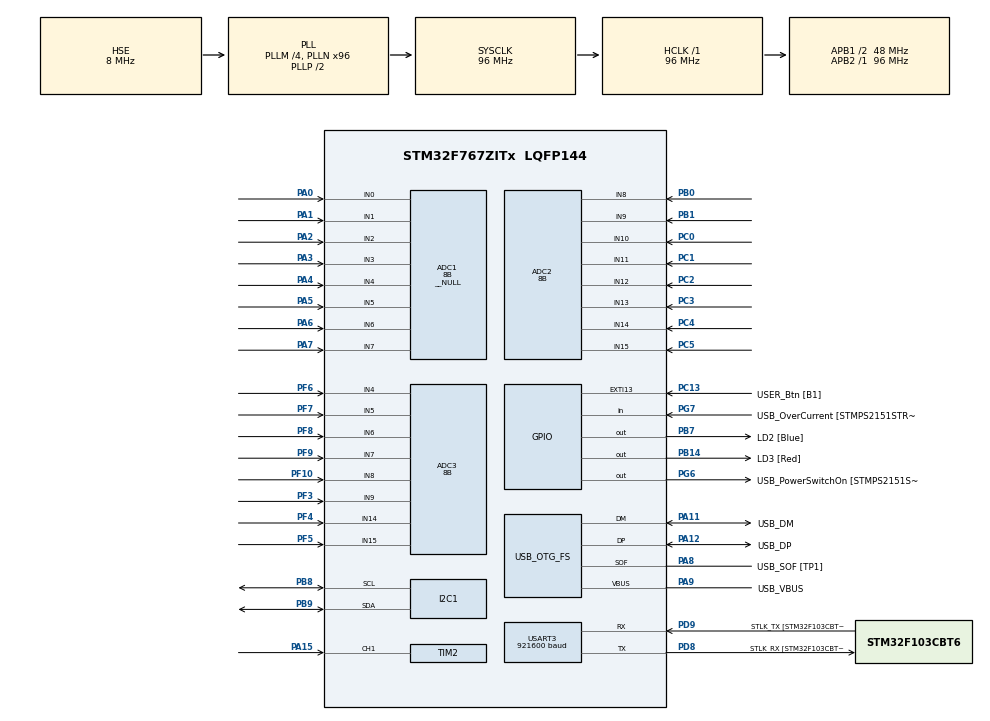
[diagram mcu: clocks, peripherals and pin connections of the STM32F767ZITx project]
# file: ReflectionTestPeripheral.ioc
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ADC1.Channel-0\#ChannelRegularConversion=ADC_CHANNEL_0
ADC1.Channel-1\#ChannelRegularConversion=ADC_CHANNEL_1
ADC1.Channel-2\#ChannelRegularConversion=ADC_CHANNEL_2
ADC1.Channel-3\#ChannelRegularConversion=ADC_CHANNEL_3
ADC1.Channel-4\#ChannelRegularConversion=ADC_CHANNEL_4
ADC1.Channel-5\#ChannelRegularConversion=ADC_CHANNEL_5
ADC1.Channel-6\#ChannelRegularConversion=ADC_CHANNEL_6
ADC1.Channel-7\#ChannelRegularConversion=ADC_CHANNEL_7
ADC1.ContinuousConvMode=ENABLE
ADC1.DMAContinuousRequests=ENABLE
ADC1.EOCSelection=ADC_EOC_SEQ_CONV
ADC1.Mode=__NULL
ADC1.NbrOfConversion=8
ADC1.NbrOfConversionFlag=1
ADC1.Rank-0\#ChannelRegularConversion=1
ADC1.Rank-1\#ChannelRegularConversion=2
ADC1.Rank-2\#ChannelRegularConversion=3
ADC1.Rank-3\#ChannelRegularConversion=4
ADC1.Rank-4\#ChannelRegularConversion=5
ADC1.Rank-5\#ChannelRegularConversion=6
ADC1.Rank-6\#ChannelRegularConversion=7
ADC1.Rank-7\#ChannelRegularConversion=8
ADC1.Resolution=ADC_RESOLUTION_8B
ADC1.SamplingTime-0\#ChannelRegularConversion=ADC_SAMPLETIME_3CYCLES
ADC1.SamplingTime-1\#ChannelRegularConversion=ADC_SAMPLETIME_3CYCLES
ADC1.SamplingTime-2\#ChannelRegularConversion=ADC_SAMPLETIME_3CYCLES
ADC1.SamplingTime-3\#ChannelRegularConversion=ADC_SAMPLETIME_3CYCLES
ADC1.SamplingTime-4\#ChannelRegularConversion=ADC_SAMPLETIME_3CYCLES
ADC1.SamplingTime-5\#ChannelRegularConversion=ADC_SAMPLETIME_3CYCLES
ADC1.SamplingTime-6\#ChannelRegularConversion=ADC_SAMPLETIME_3CYCLES
ADC1.SamplingTime-7\#ChannelRegularConversion=ADC_SAMPLETIME_3CYCLES
ADC1.ScanConvMode=ADC_SCAN_ENABLE
ADC1.master=1
ADC2.Channel-10\#ChannelRegularConversion=ADC_CHANNEL_10
ADC2.Channel-11\#ChannelRegularConversion=ADC_CHANNEL_11
ADC2.Channel-12\#ChannelRegularConversion=ADC_CHANNEL_12
ADC2.Channel-13\#ChannelRegularConversion=ADC_CHANNEL_13
ADC2.Channel-14\#ChannelRegularConversion=ADC_CHANNEL_14
ADC2.Channel-15\#ChannelRegularConversion=ADC_CHANNEL_15
ADC2.Channel-8\#ChannelRegularConversion=ADC_CHANNEL_8
ADC2.Channel-9\#ChannelRegularConversion=ADC_CHANNEL_9
ADC2.ContinuousConvMode=ENABLE
ADC2.DMAContinuousRequests=ENABLE
ADC2.EOCSelection=ADC_EOC_SEQ_CONV
ADC2.NbrOfConversion=8
ADC2.NbrOfConversionFlag=1
ADC2.Rank-10\#ChannelRegularConversion=3
ADC2.Rank-11\#ChannelRegularConversion=4
ADC2.Rank-12\#ChannelRegularConversion=5
ADC2.Rank-13\#ChannelRegularConversion=6
ADC2.Rank-14\#ChannelRegularConversion=7
ADC2.Rank-15\#ChannelRegularConversion=8
ADC2.Rank-8\#ChannelRegularConversion=1
ADC2.Rank-9\#ChannelRegularConversion=2
ADC2.Resolution=ADC_RESOLUTION_8B
ADC2.SamplingTime-10\#ChannelRegularConversion=ADC_SAMPLETIME_3CYCLES
ADC2.SamplingTime-11\#ChannelRegularConversion=ADC_SAMPLETIME_3CYCLES
ADC2.SamplingTime-12\#ChannelRegularConversion=ADC_SAMPLETIME_3CYCLES
ADC2.SamplingTime-13\#ChannelRegularConversion=ADC_SAMPLETIME_3CYCLES
ADC2.SamplingTime-14\#ChannelRegularConversion=ADC_SAMPLETIME_3CYCLES
ADC2.SamplingTime-15\#ChannelRegularConversion=ADC_SAMPLETIME_3CYCLES
ADC2.SamplingTime-8\#ChannelRegularConversion=ADC_SAMPLETIME_3CYCLES
ADC2.SamplingTime-9\#ChannelRegularConversion=ADC_SAMPLETIME_3CYCLES
ADC2.ScanConvMode=ADC_SCAN_ENABLE
ADC3.Channel-0\#ChannelRegularConversion=ADC_CHANNEL_4
ADC3.Channel-10\#ChannelRegularConversion=ADC_CHANNEL_14
ADC3.Channel-11\#ChannelRegularConversion=ADC_CHANNEL_15
ADC3.Channel-5\#ChannelRegularConversion=ADC_CHANNEL_5
ADC3.Channel-6\#ChannelRegularConversion=ADC_CHANNEL_6
ADC3.Channel-7\#ChannelRegularConversion=ADC_CHANNEL_7
ADC3.Channel-8\#ChannelRegularConversion=ADC_CHANNEL_8
ADC3.Channel-9\#ChannelRegularConversion=ADC_CHANNEL_9
ADC3.ContinuousConvMode=ENABLE
ADC3.DMAContinuousRequests=ENABLE
ADC3.EOCSelection=ADC_EOC_SEQ_CONV
ADC3.InjNumberOfConversion=0
ADC3.NbrOfConversion=8
ADC3.NbrOfConversionFlag=1
ADC3.Rank-0\#ChannelRegularConversion=1
ADC3.Rank-10\#ChannelRegularConversion=7
ADC3.Rank-11\#ChannelRegularConversion=8
ADC3.Rank-5\#ChannelRegularConversion=2
ADC3.Rank-6\#ChannelRegularConversion=3
ADC3.Rank-7\#ChannelRegularConversion=4
ADC3.Rank-8\#ChannelRegularConversion=5
ADC3.Rank-9\#ChannelRegularConversion=6
ADC3.Resolution=ADC_RESOLUTION_8B
ADC3.SamplingTime-0\#ChannelRegularConversion=ADC_SAMPLETIME_3CYCLES
ADC3.SamplingTime-10\#ChannelRegularConversion=ADC_SAMPLETIME_3CYCLES
ADC3.SamplingTime-11\#ChannelRegularConversion=ADC_SAMPLETIME_3CYCLES
ADC3.SamplingTime-5\#ChannelRegularConversion=ADC_SAMPLETIME_3CYCLES
ADC3.SamplingTime-6\#ChannelRegularConversion=ADC_SAMPLETIME_3CYCLES
ADC3.SamplingTime-7\#ChannelRegularConversion=ADC_SAMPLETIME_3CYCLES
ADC3.SamplingTime-8\#ChannelRegularConversion=ADC_SAMPLETIME_3CYCLES
ADC3.SamplingTime-9\#ChannelRegularConversion=ADC_SAMPLETIME_3CYCLES
ADC3.TwoSamplingDelay=ADC_TWOSAMPLINGDELAY_15CYCLES
Dma.ADC1.0.Direction=DMA_PERIPH_TO_MEMORY
Dma.ADC1.0.FIFOMode=DMA_FIFOMODE_DISABLE
Dma.ADC1.0.Instance=DMA2_Stream0
Dma.ADC1.0.MemDataAlignment=DMA_MDATAALIGN_HALFWORD
Dma.ADC1.0.MemInc=DMA_MINC_ENABLE
Dma.ADC1.0.Mode=DMA_CIRCULAR
Dma.ADC1.0.PeriphDataAlignment=DMA_PDATAALIGN_HALFWORD
Dma.ADC1.0.PeriphInc=DMA_PINC_DISABLE
Dma.ADC1.0.Priority=DMA_PRIORITY_LOW
Dma.ADC2.2.Direction=DMA_PERIPH_TO_MEMORY
Dma.ADC2.2.FIFOMode=DMA_FIFOMODE_DISABLE
Dma.ADC2.2.Instance=DMA2_Stream2
Dma.ADC2.2.MemDataAlignment=DMA_MDATAALIGN_HALFWORD
Dma.ADC2.2.MemInc=DMA_MINC_ENABLE
Dma.ADC2.2.Mode=DMA_CIRCULAR
Dma.ADC2.2.PeriphDataAlignment=DMA_PDATAALIGN_HALFWORD
Dma.ADC2.2.PeriphInc=DMA_PINC_DISABLE
Dma.ADC2.2.Priority=DMA_PRIORITY_LOW
Dma.ADC3.1.Direction=DMA_PERIPH_TO_MEMORY
Dma.ADC3.1.FIFOMode=DMA_FIFOMODE_DISABLE
Dma.ADC3.1.Instance=DMA2_Stream1
Dma.ADC3.1.MemDataAlignment=DMA_MDATAALIGN_HALFWORD
Dma.ADC3.1.MemInc=DMA_MINC_ENABLE
Dma.ADC3.1.Mode=DMA_CIRCULAR
Dma.ADC3.1.PeriphDataAlignment=DMA_PDATAALIGN_HALFWORD
Dma.ADC3.1.PeriphInc=DMA_PINC_DISABLE
Dma.ADC3.1.Priority=DMA_PRIORITY_LOW
Dma.Request0=ADC1
Dma.Request1=ADC3
Dma.Request2=ADC2
I2C1.OwnAddress=1
I2C1.Timing=0x20303E5D
Mcu.Family=STM32F7
Mcu.Name=STM32F767ZITx
Mcu.Package=LQFP144
NVIC.DMA2_Stream0_IRQn=true\:0\:0\:false\:false\:true\:false\:true\:true
NVIC.DMA2_Stream1_IRQn=true\:0\:0\:false\:false\:true\:false\:true\:true
NVIC.DMA2_Stream2_IRQn=true\:0\:0\:false\:false\:true\:false\:true\:true
NVIC.I2C1_ER_IRQn=true\:0\:0\:false\:false\:true\:true\:true\:true
NVIC.I2C1_EV_IRQn=true\:0\:0\:false\:false\:true\:true\:true\:true
NVIC.PriorityGroup=NVIC_PRIORITYGROUP_4
PA0/WKUP.Signal=ADCx_IN0
PA1.Signal=ADCx_IN1
PA10.GPIO_Label=USB_ID
PA10.Signal=USB_OTG_FS_ID
PA11.GPIO_Label=USB_DM
PA11.Mode=Device_Only
PA11.Signal=USB_OTG_FS_DM
PA12.GPIO_Label=USB_DP
PA12.Mode=Device_Only
PA12.Signal=USB_OTG_FS_DP
PA13.GPIO_Label=TMS
PA13.Mode=Serial_Wire
PA13.Signal=SYS_JTMS-SWDIO
PA14.GPIO_Label=TCK
PA14.Mode=Serial_Wire
PA14.Signal=SYS_JTCK-SWCLK
PA15.Signal=S_TIM2_CH1_ETR
PA2.Signal=ADCx_IN2
PA3.Signal=ADCx_IN3
PA4.Signal=ADCx_IN4
PA5.Signal=ADCx_IN5
PA6.Signal=ADCx_IN6
PA7.Signal=ADCx_IN7
PA8.GPIO_Label=USB_SOF [TP1]
PA8.Mode=Activate_SOF_FS
PA8.Signal=USB_OTG_FS_SOF
PA9.GPIO_Label=USB_VBUS
PA9.Mode=Activate_VBUS
PA9.Signal=USB_OTG_FS_VBUS
PB0.Signal=ADCx_IN8
PB1.Signal=ADCx_IN9
PB13.GPIO_Label=RMII_TXD1 [LAN8742A-CZ-TR_TXD1]
PB13.Signal=ETH_TXD1
PB14.GPIO_Label=LD3 [Red]
PB14.Signal=GPIO_Output
PB3.GPIO_Label=SWO
PB3.Signal=SYS_JTDO-SWO
PB7.GPIO_Label=LD2 [Blue]
PB7.Signal=GPIO_Output
PB8.Mode=I2C
PB8.Signal=I2C1_SCL
PB9.Mode=I2C
PB9.Signal=I2C1_SDA
PC0.Signal=ADCx_IN10
PC1.Signal=ADCx_IN11
PC13.GPIO_Label=USER_Btn [B1]
PC13.Signal=GPXTI13
PC14/OSC32_IN.Mode=LSE-External-Oscillator
PC14/OSC32_IN.Signal=RCC_OSC32_IN
PC15/OSC32_OUT.Mode=LSE-External-Oscillator
PC15/OSC32_OUT.Signal=RCC_OSC32_OUT
PC2.Signal=ADCx_IN12
PC3.Signal=ADCx_IN13
PC4.Signal=ADCx_IN14
PC5.Signal=ADCx_IN15
PD8.GPIO_Label=STLK_RX [STM32F103CBT6_PA3]
PD8.Mode=Asynchronous
PD8.Signal=USART3_TX
PD9.GPIO_Label=STLK_TX [STM32F103CBT6_PA2]
PD9.Mode=Asynchronous
PD9.Signal=USART3_RX
PF10.Mode=IN8
PF10.Signal=ADC3_IN8
PF3.Mode=IN9
PF3.Signal=ADC3_IN9
PF4.Mode=IN14
PF4.Signal=ADC3_IN14
PF5.Mode=IN15
PF5.Signal=ADC3_IN15
PF6.Mode=IN4
PF6.Signal=ADC3_IN4
PF7.Mode=IN5
PF7.Signal=ADC3_IN5
PF8.Mode=IN6
PF8.Signal=ADC3_IN6
PF9.Mode=IN7
PF9.Signal=ADC3_IN7
PG11.GPIO_Label=RMII_TX_EN [LAN8742A-CZ-TR_TXEN]
PG11.Signal=ETH_TX_EN
PG13.GPIO_Label=RMII_TXD0 [LAN8742A-CZ-TR_TXD0]
PG13.Signal=ETH_TXD0
PG6.GPIO_Label=USB_PowerSwitchOn [STMPS2151STR_EN]
PG6.Signal=GPIO_Output
PG7.GPIO_Label=USB_OverCurrent [STMPS2151STR_FAULT]
PG7.Signal=GPIO_Input
PH0/OSC_IN.GPIO_Label=MCO [STM32F103CBT6_PA8]
PH0/OSC_IN.Mode=HSE-External-Clock-Source
PH0/OSC_IN.Signal=RCC_OSC_IN
PH1/OSC_OUT.Mode=HSE-External-Clock-Source
PH1/OSC_OUT.Signal=RCC_OSC_OUT
ProjectManager.HeapSize=0x80000
ProjectManager.StackSize=0x400
ProjectManager.TargetToolchain=STM32CubeIDE
RCC.48MHZClocksFreq_Value=24000000
RCC.AHBFreq_Value=96000000
RCC.APB1CLKDivider=RCC_HCLK_DIV2
RCC.APB1Freq_Value=48000000
RCC.APB1TimFreq_Value=96000000
RCC.APB2Freq_Value=96000000
RCC.APB2TimFreq_Value=96000000
RCC.CortexFreq_Value=96000000
RCC.HCLKFreq_Value=96000000
RCC.HSE_VALUE=8000000
RCC.HSI_VALUE=16000000
RCC.PLLM=4
RCC.PLLMUL=RCC_PLL_MUL9
RCC.PLLN=96
RCC.PLLQ=4
RCC.PRESCALERUSB=RCC_USBCLKSOURCE_PLL_DIV1_5
RCC.SYSCLKFreq_VALUE=96000000
RCC.SYSCLKSource=RCC_SYSCLKSOURCE_PLLCLK
RCC.SYSCLKSourceVirtual=RCC_SYSCLKSOURCE_PLLCLK
RCC.USBFreq_Value=48000000
RCC.VCOOutputFreq_Value=192000000
SH.ADCx_IN0.0=ADC1_IN0,IN0
SH.ADCx_IN1.0=ADC1_IN1,IN1
SH.ADCx_IN10.0=ADC2_IN10,IN10
SH.ADCx_IN11.0=ADC1_IN11
SH.ADCx_IN11.1=ADC2_IN11,IN11
SH.ADCx_IN12.0=ADC2_IN12,IN12
SH.ADCx_IN13.0=ADC2_IN13,IN13
SH.ADCx_IN14.0=ADC1_IN14
SH.ADCx_IN14.1=ADC2_IN14,IN14
SH.ADCx_IN15.0=ADC1_IN15
SH.ADCx_IN15.1=ADC2_IN15,IN15
SH.ADCx_IN2.0=ADC1_IN2,IN2
SH.ADCx_IN3.0=ADC1_IN3,IN3
SH.ADCx_IN4.0=ADC1_IN4,IN4
SH.ADCx_IN5.0=ADC1_IN5,IN5
SH.ADCx_IN6.0=ADC1_IN6,IN6
SH.ADCx_IN7.0=ADC1_IN7,IN7
SH.ADCx_IN8.0=ADC1_IN8
SH.ADCx_IN8.1=ADC2_IN8,IN8
SH.ADCx_IN9.0=ADC2_IN9,IN9
SH.S_TIM2_CH1_ETR.0=TIM2_CH1,Input_Capture1_from_TI1
TIM2.Channel-Input_Capture1_from_TI1=TIM_CHANNEL_1
TIM2.Prescaler=95
USART3.BaudRate=921600
USART3.VirtualMode-Asynchronous=VM_ASYNC
USB_OTG_FS.VirtualMode=Device_Only
VP_TIM2_VS_ClockSourceINT.Mode=Internal
board=NUCLEO-F767ZI

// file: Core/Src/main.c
/* USER CODE BEGIN Header */
/**
  ******************************************************************************
  * @file           : main.c
  * @brief          : Main program body
  ******************************************************************************
  * @attention
  *
  * Copyright (c) 2024 STMicroelectronics.
  * All rights reserved.
  *
  * This software is licensed under terms that can be found in the LICENSE file
  * in the root directory of this software component.
  * If no LICENSE file comes with this software, it is provided AS-IS.
  *
  ******************************************************************************
  */
/* USER CODE END Header */
#include "main.h"

ADC_HandleTypeDef hadc1;
ADC_HandleTypeDef hadc2;
ADC_HandleTypeDef hadc3;
DMA_HandleTypeDef hdma_adc1;
DMA_HandleTypeDef hdma_adc2;
DMA_HandleTypeDef hdma_adc3;

I2C_HandleTypeDef hi2c1;

TIM_HandleTypeDef htim2;

UART_HandleTypeDef huart3;

PCD_HandleTypeDef hpcd_USB_OTG_FS;

void SystemClock_Config(void);
static void MX_GPIO_Init(void);
static void MX_DMA_Init(void);
static void MX_USART3_UART_Init(void);
static void MX_USB_OTG_FS_PCD_Init(void);
static void MX_I2C1_Init(void);
static void MX_ADC1_Init(void);
static void MX_TIM2_Init(void);
static void MX_ADC3_Init(void);
static void MX_ADC2_Init(void);
/* USER CODE BEGIN PFP */
void ADC_DMAConvCplt_M1(DMA_HandleTypeDef *hdma);

void PrintUARTMessage(UART_HandleTypeDef *huart, const char message[]);

void PrintUARTValue(UART_HandleTypeDef *huart, uint16_t value);

void BlinkLight(GPIO_TypeDef* GPIOx, uint16_t GPIO_Pin, int blinkCount, int totalTimeMS, GPIO_PinState endState);

char* uint16ToString(uint16_t value, char* buffer, int bufferSize);

void CheckIfAllBuffersReadyAndSend();
/* USER CODE END PFP */

/* USER CODE BEGIN 0 */

	uint16_t adcBuffer_1[8 * 8];
	uint16_t adcBuffer_2[8 * 8];
	uint16_t adcBuffer_3[8 * 8];

	int adc1Finished = 0;
	int adc2Finished = 0;
	int adc3Finished = 0;
/*
	uint16_t** transmitBuffers_ADC1; //Filled with data from adc1_buf as it completes, and remains until cleared.
    uint32_t** transmitBuffers_ADC2;
    uint32_t** transmitBuffers_ADC3;
    */
/* USER CODE END 0 */

int main(void)
{

  /* MCU Configuration--------------------------------------------------------*/

  /* Reset of all peripherals, Initializes the Flash interface and the Systick. */
  HAL_Init();

  /* Configure the system clock */
  SystemClock_Config();

  /* Initialize all configured peripherals */
  MX_GPIO_Init();
  MX_DMA_Init();
  MX_USART3_UART_Init();
  MX_USB_OTG_FS_PCD_Init();
  MX_I2C1_Init();
  MX_ADC1_Init();
  MX_TIM2_Init();
  MX_ADC3_Init();
  MX_ADC2_Init();
  /* USER CODE BEGIN 2 */

  //Set up double buffer mode and M1 callback on DMA handles.
    //hadc1.DMA_Handle->Instance->CR |= DMA_SxCR_DBM_Msk;
    //hadc1.DMA_Handle->XferM1CpltCallback = ADC_DMAConvCplt_M1;

    //hadc2.DMA_Handle->Instance->CR |= DMA_SxCR_DBM_Msk;
    //hadc2.DMA_Handle->XferM1CpltCallback = ADC_DMAConvCplt_M1;

    //hadc3.DMA_Handle->Instance->CR |= DMA_SxCR_DBM_Msk;
    //hadc3.DMA_Handle->XferM1CpltCallback = ADC_DMAConvCplt_M1;

    //HAL_DMA_RegisterCallback(&hdma_adc1, HAL_DMA_XFER_CPLT_CB_ID, &ADC_DMAConvCplt_M1);
    //HAL_DMA_RegisterCallback(&hdma_usart2_tx, HAL_DMA_XFER_CPLT_CB_ID, &ADC_DMAConvCplt_M1);

    int sampleCount = 0;

    const int SAMPLE_DELAY_MS = 100;

    //HAL_ADC_Start_DMA(&hadc1, (uint32_t*)adcBuffer_1, 8 * 8);
  /* USER CODE END 2 */

  /* Infinite loop */
  while (1)
  {
	  //sampleCount++;
	  //char sampleMsg[10];
	  //sprintf(sampleMsg, "%hu\r\n", sampleCount);
	  //PrintUARTMessage(&huart3, "Sample #: ");
	  //PrintUARTMessage(&huart3, sampleMsg);

	  adc1Finished = 0;
	  adc2Finished = 0;
	  adc3Finished = 0;

	  //hadc->DMA_Handle->Instance->M1AR = (uint32_t)transmitBuffers[1]; //Apply second buffer address. That and the first one will be updated on each pass.
	  HAL_ADC_Start_DMA(&hadc1, (uint32_t*)adcBuffer_1, 8 * 8);
	  HAL_ADC_Start_DMA(&hadc2, (uint32_t*)adcBuffer_2, 8 * 8);
	  HAL_ADC_Start_DMA(&hadc3, (uint32_t*)adcBuffer_3, 8 * 8);
	  /*
	  HAL_ADC_Start(&hadc1);
	  //HAL_ADC_PollForConversion(&hadc1, 1);

	  uint16_t testdata = HAL_ADC_GetValue(&hadc1);
	  //const int testdata = 123;

	  char msg[10];
	  //uint16ToString(testdata, msg, sizeof(str));
	  //HAL_UART_Transmit(&huart3, (uint8_t*)&adcValue, sizeof(uint8_t), HAL_MAX_DELAY);
	  //HAL_UART_Transmit(&huart3, (uint8_t*)&testdata, sizeof(uint8_t), HAL_MAX_DELAY);
	  sprintf(msg, "%hu\r\n", testdata);

	  PrintUARTMessage(&huart3, msg);
*/

	  HAL_Delay(SAMPLE_DELAY_MS);

  }
}

void SystemClock_Config(void)
{
  RCC_OscInitTypeDef RCC_OscInitStruct = {0};
  RCC_ClkInitTypeDef RCC_ClkInitStruct = {0};

  /** Configure LSE Drive Capability
  */
  HAL_PWR_EnableBkUpAccess();

  /** Configure the main internal regulator output voltage
  */
  __HAL_RCC_PWR_CLK_ENABLE();
  __HAL_PWR_VOLTAGESCALING_CONFIG(PWR_REGULATOR_VOLTAGE_SCALE3);

  /** Initializes the RCC Oscillators according to the specified parameters
  * in the RCC_OscInitTypeDef structure.
  */
  RCC_OscInitStruct.OscillatorType = RCC_OSCILLATORTYPE_HSE;
  RCC_OscInitStruct.HSEState = RCC_HSE_BYPASS;
  RCC_OscInitStruct.PLL.PLLState = RCC_PLL_ON;
  RCC_OscInitStruct.PLL.PLLSource = RCC_PLLSOURCE_HSE;
  RCC_OscInitStruct.PLL.PLLM = 4;
  RCC_OscInitStruct.PLL.PLLN = 96;
  RCC_OscInitStruct.PLL.PLLP = RCC_PLLP_DIV2;
  RCC_OscInitStruct.PLL.PLLQ = 4;
  RCC_OscInitStruct.PLL.PLLR = 2;
  if (HAL_RCC_OscConfig(&RCC_OscInitStruct) != HAL_OK)
  {
    Error_Handler();
  }

  /** Activate the Over-Drive mode
  */
  if (HAL_PWREx_EnableOverDrive() != HAL_OK)
  {
    Error_Handler();
  }

  /** Initializes the CPU, AHB and APB buses clocks
  */
  RCC_ClkInitStruct.ClockType = RCC_CLOCKTYPE_HCLK|RCC_CLOCKTYPE_SYSCLK
                              |RCC_CLOCKTYPE_PCLK1|RCC_CLOCKTYPE_PCLK2;
  RCC_ClkInitStruct.SYSCLKSource = RCC_SYSCLKSOURCE_PLLCLK;
  RCC_ClkInitStruct.AHBCLKDivider = RCC_SYSCLK_DIV1;
  RCC_ClkInitStruct.APB1CLKDivider = RCC_HCLK_DIV2;
  RCC_ClkInitStruct.APB2CLKDivider = RCC_HCLK_DIV1;

  if (HAL_RCC_ClockConfig(&RCC_ClkInitStruct, FLASH_LATENCY_3) != HAL_OK)
  {
    Error_Handler();
  }
}

static void MX_ADC1_Init(void)
{

  ADC_ChannelConfTypeDef sConfig = {0};

  /** Configure the global features of the ADC (Clock, Resolution, Data Alignment and number of conversion)
  */
  hadc1.Instance = ADC1;
  hadc1.Init.ClockPrescaler = ADC_CLOCK_SYNC_PCLK_DIV4;
  hadc1.Init.Resolution = ADC_RESOLUTION_8B;
  hadc1.Init.ScanConvMode = ADC_SCAN_ENABLE;
  hadc1.Init.ContinuousConvMode = ENABLE;
  hadc1.Init.DiscontinuousConvMode = DISABLE;
  hadc1.Init.ExternalTrigConvEdge = ADC_EXTERNALTRIGCONVEDGE_NONE;
  hadc1.Init.ExternalTrigConv = ADC_SOFTWARE_START;
  hadc1.Init.DataAlign = ADC_DATAALIGN_RIGHT;
  hadc1.Init.NbrOfConversion = 8;
  hadc1.Init.DMAContinuousRequests = ENABLE;
  hadc1.Init.EOCSelection = ADC_EOC_SEQ_CONV;
  if (HAL_ADC_Init(&hadc1) != HAL_OK)
  {
    Error_Handler();
  }

  /** Configure for the selected ADC regular channel its corresponding rank in the sequencer and its sample time.
  */
  sConfig.Channel = ADC_CHANNEL_0;
  sConfig.Rank = ADC_REGULAR_RANK_1;
  sConfig.SamplingTime = ADC_SAMPLETIME_3CYCLES;
  if (HAL_ADC_ConfigChannel(&hadc1, &sConfig) != HAL_OK)
  {
    Error_Handler();
  }

  /** Configure for the selected ADC regular channel its corresponding rank in the sequencer and its sample time.
  */
  sConfig.Channel = ADC_CHANNEL_1;
  sConfig.Rank = ADC_REGULAR_RANK_2;
  if (HAL_ADC_ConfigChannel(&hadc1, &sConfig) != HAL_OK)
  {
    Error_Handler();
  }

  /** Configure for the selected ADC regular channel its corresponding rank in the sequencer and its sample time.
  */
  sConfig.Channel = ADC_CHANNEL_2;
  sConfig.Rank = ADC_REGULAR_RANK_3;
  if (HAL_ADC_ConfigChannel(&hadc1, &sConfig) != HAL_OK)
  {
    Error_Handler();
  }

  /** Configure for the selected ADC regular channel its corresponding rank in the sequencer and its sample time.
  */
  sConfig.Channel = ADC_CHANNEL_3;
  sConfig.Rank = ADC_REGULAR_RANK_4;
  if (HAL_ADC_ConfigChannel(&hadc1, &sConfig) != HAL_OK)
  {
    Error_Handler();
  }

  /** Configure for the selected ADC regular channel its corresponding rank in the sequencer and its sample time.
  */
  sConfig.Channel = ADC_CHANNEL_4;
  sConfig.Rank = ADC_REGULAR_RANK_5;
  if (HAL_ADC_ConfigChannel(&hadc1, &sConfig) != HAL_OK)
  {
    Error_Handler();
  }

  /** Configure for the selected ADC regular channel its corresponding rank in the sequencer and its sample time.
  */
  sConfig.Channel = ADC_CHANNEL_5;
  sConfig.Rank = ADC_REGULAR_RANK_6;
  if (HAL_ADC_ConfigChannel(&hadc1, &sConfig) != HAL_OK)
  {
    Error_Handler();
  }

  /** Configure for the selected ADC regular channel its corresponding rank in the sequencer and its sample time.
  */
  sConfig.Channel = ADC_CHANNEL_6;
  sConfig.Rank = ADC_REGULAR_RANK_7;
  if (HAL_ADC_ConfigChannel(&hadc1, &sConfig) != HAL_OK)
  {
    Error_Handler();
  }

  /** Configure for the selected ADC regular channel its corresponding rank in the sequencer and its sample time.
  */
  sConfig.Channel = ADC_CHANNEL_7;
  sConfig.Rank = ADC_REGULAR_RANK_8;
  if (HAL_ADC_ConfigChannel(&hadc1, &sConfig) != HAL_OK)
  {
    Error_Handler();
  }

}

static void MX_ADC2_Init(void)
{

  ADC_ChannelConfTypeDef sConfig = {0};

  /** Configure the global features of the ADC (Clock, Resolution, Data Alignment and number of conversion)
  */
  hadc2.Instance = ADC2;
  hadc2.Init.ClockPrescaler = ADC_CLOCK_SYNC_PCLK_DIV4;
  hadc2.Init.Resolution = ADC_RESOLUTION_8B;
  hadc2.Init.ScanConvMode = ADC_SCAN_ENABLE;
  hadc2.Init.ContinuousConvMode = ENABLE;
  hadc2.Init.DiscontinuousConvMode = DISABLE;
  hadc2.Init.ExternalTrigConvEdge = ADC_EXTERNALTRIGCONVEDGE_NONE;
  hadc2.Init.ExternalTrigConv = ADC_SOFTWARE_START;
  hadc2.Init.DataAlign = ADC_DATAALIGN_RIGHT;
  hadc2.Init.NbrOfConversion = 8;
  hadc2.Init.DMAContinuousRequests = ENABLE;
  hadc2.Init.EOCSelection = ADC_EOC_SEQ_CONV;
  if (HAL_ADC_Init(&hadc2) != HAL_OK)
  {
    Error_Handler();
  }

  /** Configure for the selected ADC regular channel its corresponding rank in the sequencer and its sample time.
  */
  sConfig.Channel = ADC_CHANNEL_8;
  sConfig.Rank = ADC_REGULAR_RANK_1;
  sConfig.SamplingTime = ADC_SAMPLETIME_3CYCLES;
  if (HAL_ADC_ConfigChannel(&hadc2, &sConfig) != HAL_OK)
  {
    Error_Handler();
  }

  /** Configure for the selected ADC regular channel its corresponding rank in the sequencer and its sample time.
  */
  sConfig.Channel = ADC_CHANNEL_9;
  sConfig.Rank = ADC_REGULAR_RANK_2;
  if (HAL_ADC_ConfigChannel(&hadc2, &sConfig) != HAL_OK)
  {
    Error_Handler();
  }

  /** Configure for the selected ADC regular channel its corresponding rank in the sequencer and its sample time.
  */
  sConfig.Channel = ADC_CHANNEL_10;
  sConfig.Rank = ADC_REGULAR_RANK_3;
  if (HAL_ADC_ConfigChannel(&hadc2, &sConfig) != HAL_OK)
  {
    Error_Handler();
  }

  /** Configure for the selected ADC regular channel its corresponding rank in the sequencer and its sample time.
  */
  sConfig.Channel = ADC_CHANNEL_11;
  sConfig.Rank = ADC_REGULAR_RANK_4;
  if (HAL_ADC_ConfigChannel(&hadc2, &sConfig) != HAL_OK)
  {
    Error_Handler();
  }

  /** Configure for the selected ADC regular channel its corresponding rank in the sequencer and its sample time.
  */
  sConfig.Channel = ADC_CHANNEL_12;
  sConfig.Rank = ADC_REGULAR_RANK_5;
  if (HAL_ADC_ConfigChannel(&hadc2, &sConfig) != HAL_OK)
  {
    Error_Handler();
  }

  /** Configure for the selected ADC regular channel its corresponding rank in the sequencer and its sample time.
  */
  sConfig.Channel = ADC_CHANNEL_13;
  sConfig.Rank = ADC_REGULAR_RANK_6;
  if (HAL_ADC_ConfigChannel(&hadc2, &sConfig) != HAL_OK)
  {
    Error_Handler();
  }

  /** Configure for the selected ADC regular channel its corresponding rank in the sequencer and its sample time.
  */
  sConfig.Channel = ADC_CHANNEL_14;
  sConfig.Rank = ADC_REGULAR_RANK_7;
  if (HAL_ADC_ConfigChannel(&hadc2, &sConfig) != HAL_OK)
  {
    Error_Handler();
  }

  /** Configure for the selected ADC regular channel its corresponding rank in the sequencer and its sample time.
  */
  sConfig.Channel = ADC_CHANNEL_15;
  sConfig.Rank = ADC_REGULAR_RANK_8;
  if (HAL_ADC_ConfigChannel(&hadc2, &sConfig) != HAL_OK)
  {
    Error_Handler();
  }

}

static void MX_ADC3_Init(void)
{

  ADC_ChannelConfTypeDef sConfig = {0};

  /** Configure the global features of the ADC (Clock, Resolution, Data Alignment and number of conversion)
  */
  hadc3.Instance = ADC3;
  hadc3.Init.ClockPrescaler = ADC_CLOCK_SYNC_PCLK_DIV4;
  hadc3.Init.Resolution = ADC_RESOLUTION_8B;
  hadc3.Init.ScanConvMode = ADC_SCAN_ENABLE;
  hadc3.Init.ContinuousConvMode = ENABLE;
  hadc3.Init.DiscontinuousConvMode = DISABLE;
  hadc3.Init.ExternalTrigConvEdge = ADC_EXTERNALTRIGCONVEDGE_NONE;
  hadc3.Init.ExternalTrigConv = ADC_SOFTWARE_START;
  hadc3.Init.DataAlign = ADC_DATAALIGN_RIGHT;
  hadc3.Init.NbrOfConversion = 8;
  hadc3.Init.DMAContinuousRequests = ENABLE;
  hadc3.Init.EOCSelection = ADC_EOC_SEQ_CONV;
  if (HAL_ADC_Init(&hadc3) != HAL_OK)
  {
    Error_Handler();
  }

  /** Configure for the selected ADC regular channel its corresponding rank in the sequencer and its sample time.
  */
  sConfig.Channel = ADC_CHANNEL_4;
  sConfig.Rank = ADC_REGULAR_RANK_1;
  sConfig.SamplingTime = ADC_SAMPLETIME_3CYCLES;
  if (HAL_ADC_ConfigChannel(&hadc3, &sConfig) != HAL_OK)
  {
    Error_Handler();
  }

  /** Configure for the selected ADC regular channel its corresponding rank in the sequencer and its sample time.
  */
  sConfig.Channel = ADC_CHANNEL_5;
  sConfig.Rank = ADC_REGULAR_RANK_2;
  if (HAL_ADC_ConfigChannel(&hadc3, &sConfig) != HAL_OK)
  {
    Error_Handler();
  }

  /** Configure for the selected ADC regular channel its corresponding rank in the sequencer and its sample time.
  */
  sConfig.Channel = ADC_CHANNEL_6;
  sConfig.Rank = ADC_REGULAR_RANK_3;
  if (HAL_ADC_ConfigChannel(&hadc3, &sConfig) != HAL_OK)
  {
    Error_Handler();
  }

  /** Configure for the selected ADC regular channel its corresponding rank in the sequencer and its sample time.
  */
  sConfig.Channel = ADC_CHANNEL_7;
  sConfig.Rank = ADC_REGULAR_RANK_4;
  if (HAL_ADC_ConfigChannel(&hadc3, &sConfig) != HAL_OK)
  {
    Error_Handler();
  }

  /** Configure for the selected ADC regular channel its corresponding rank in the sequencer and its sample time.
  */
  sConfig.Channel = ADC_CHANNEL_8;
  sConfig.Rank = ADC_REGULAR_RANK_5;
  if (HAL_ADC_ConfigChannel(&hadc3, &sConfig) != HAL_OK)
  {
    Error_Handler();
  }

  /** Configure for the selected ADC regular channel its corresponding rank in the sequencer and its sample time.
  */
  sConfig.Channel = ADC_CHANNEL_9;
  sConfig.Rank = ADC_REGULAR_RANK_6;
  if (HAL_ADC_ConfigChannel(&hadc3, &sConfig) != HAL_OK)
  {
    Error_Handler();
  }

  /** Configure for the selected ADC regular channel its corresponding rank in the sequencer and its sample time.
  */
  sConfig.Channel = ADC_CHANNEL_14;
  sConfig.Rank = ADC_REGULAR_RANK_7;
  if (HAL_ADC_ConfigChannel(&hadc3, &sConfig) != HAL_OK)
  {
    Error_Handler();
  }

  /** Configure for the selected ADC regular channel its corresponding rank in the sequencer and its sample time.
  */
  sConfig.Channel = ADC_CHANNEL_15;
  sConfig.Rank = ADC_REGULAR_RANK_8;
  if (HAL_ADC_ConfigChannel(&hadc3, &sConfig) != HAL_OK)
  {
    Error_Handler();
  }

}

static void MX_I2C1_Init(void)
{

  hi2c1.Instance = I2C1;
  hi2c1.Init.Timing = 0x20303E5D;
  hi2c1.Init.OwnAddress1 = 2;
  hi2c1.Init.AddressingMode = I2C_ADDRESSINGMODE_7BIT;
  hi2c1.Init.DualAddressMode = I2C_DUALADDRESS_DISABLE;
  hi2c1.Init.OwnAddress2 = 0;
  hi2c1.Init.OwnAddress2Masks = I2C_OA2_NOMASK;
  hi2c1.Init.GeneralCallMode = I2C_GENERALCALL_DISABLE;
  hi2c1.Init.NoStretchMode = I2C_NOSTRETCH_DISABLE;
  if (HAL_I2C_Init(&hi2c1) != HAL_OK)
  {
    Error_Handler();
  }

  /** Configure Analogue filter
  */
  if (HAL_I2CEx_ConfigAnalogFilter(&hi2c1, I2C_ANALOGFILTER_ENABLE) != HAL_OK)
  {
    Error_Handler();
  }

  /** Configure Digital filter
  */
  if (HAL_I2CEx_ConfigDigitalFilter(&hi2c1, 0) != HAL_OK)
  {
    Error_Handler();
  }

}

static void MX_TIM2_Init(void)
{

  TIM_ClockConfigTypeDef sClockSourceConfig = {0};
  TIM_MasterConfigTypeDef sMasterConfig = {0};
  TIM_IC_InitTypeDef sConfigIC = {0};

  htim2.Instance = TIM2;
  htim2.Init.Prescaler = 95;
  htim2.Init.CounterMode = TIM_COUNTERMODE_UP;
  htim2.Init.Period = 4294967295;
  htim2.Init.ClockDivision = TIM_CLOCKDIVISION_DIV1;
  htim2.Init.AutoReloadPreload = TIM_AUTORELOAD_PRELOAD_DISABLE;
  if (HAL_TIM_Base_Init(&htim2) != HAL_OK)
  {
    Error_Handler();
  }
  sClockSourceConfig.ClockSource = TIM_CLOCKSOURCE_INTERNAL;
  if (HAL_TIM_ConfigClockSource(&htim2, &sClockSourceConfig) != HAL_OK)
  {
    Error_Handler();
  }
  if (HAL_TIM_IC_Init(&htim2) != HAL_OK)
  {
    Error_Handler();
  }
  sMasterConfig.MasterOutputTrigger = TIM_TRGO_RESET;
  sMasterConfig.MasterSlaveMode = TIM_MASTERSLAVEMODE_DISABLE;
  if (HAL_TIMEx_MasterConfigSynchronization(&htim2, &sMasterConfig) != HAL_OK)
  {
    Error_Handler();
  }
  sConfigIC.ICPolarity = TIM_INPUTCHANNELPOLARITY_RISING;
  sConfigIC.ICSelection = TIM_ICSELECTION_DIRECTTI;
  sConfigIC.ICPrescaler = TIM_ICPSC_DIV1;
  sConfigIC.ICFilter = 0;
  if (HAL_TIM_IC_ConfigChannel(&htim2, &sConfigIC, TIM_CHANNEL_1) != HAL_OK)
  {
    Error_Handler();
  }

}

static void MX_USART3_UART_Init(void)
{

  huart3.Instance = USART3;
  huart3.Init.BaudRate = 921600;
  huart3.Init.WordLength = UART_WORDLENGTH_8B;
  huart3.Init.StopBits = UART_STOPBITS_1;
  huart3.Init.Parity = UART_PARITY_NONE;
  huart3.Init.Mode = UART_MODE_TX_RX;
  huart3.Init.HwFlowCtl = UART_HWCONTROL_NONE;
  huart3.Init.OverSampling = UART_OVERSAMPLING_16;
  huart3.Init.OneBitSampling = UART_ONE_BIT_SAMPLE_DISABLE;
  huart3.AdvancedInit.AdvFeatureInit = UART_ADVFEATURE_NO_INIT;
  if (HAL_UART_Init(&huart3) != HAL_OK)
  {
    Error_Handler();
  }

}

static void MX_USB_OTG_FS_PCD_Init(void)
{

  hpcd_USB_OTG_FS.Instance = USB_OTG_FS;
  hpcd_USB_OTG_FS.Init.dev_endpoints = 6;
  hpcd_USB_OTG_FS.Init.speed = PCD_SPEED_FULL;
  hpcd_USB_OTG_FS.Init.dma_enable = DISABLE;
  hpcd_USB_OTG_FS.Init.phy_itface = PCD_PHY_EMBEDDED;
  hpcd_USB_OTG_FS.Init.Sof_enable = ENABLE;
  hpcd_USB_OTG_FS.Init.low_power_enable = DISABLE;
  hpcd_USB_OTG_FS.Init.lpm_enable = DISABLE;
  hpcd_USB_OTG_FS.Init.vbus_sensing_enable = ENABLE;
  hpcd_USB_OTG_FS.Init.use_dedicated_ep1 = DISABLE;
  if (HAL_PCD_Init(&hpcd_USB_OTG_FS) != HAL_OK)
  {
    Error_Handler();
  }

}

static void MX_DMA_Init(void)
{

  /* DMA controller clock enable */
  __HAL_RCC_DMA2_CLK_ENABLE();

  /* DMA interrupt init */
  /* DMA2_Stream0_IRQn interrupt configuration */
  HAL_NVIC_SetPriority(DMA2_Stream0_IRQn, 0, 0);
  HAL_NVIC_EnableIRQ(DMA2_Stream0_IRQn);
  /* DMA2_Stream1_IRQn interrupt configuration */
  HAL_NVIC_SetPriority(DMA2_Stream1_IRQn, 0, 0);
  HAL_NVIC_EnableIRQ(DMA2_Stream1_IRQn);
  /* DMA2_Stream2_IRQn interrupt configuration */
  HAL_NVIC_SetPriority(DMA2_Stream2_IRQn, 0, 0);
  HAL_NVIC_EnableIRQ(DMA2_Stream2_IRQn);

}

static void MX_GPIO_Init(void)
{
  GPIO_InitTypeDef GPIO_InitStruct = {0};

  /* GPIO Ports Clock Enable */
  __HAL_RCC_GPIOC_CLK_ENABLE();
  __HAL_RCC_GPIOF_CLK_ENABLE();
  __HAL_RCC_GPIOH_CLK_ENABLE();
  __HAL_RCC_GPIOA_CLK_ENABLE();
  __HAL_RCC_GPIOB_CLK_ENABLE();
  __HAL_RCC_GPIOD_CLK_ENABLE();
  __HAL_RCC_GPIOG_CLK_ENABLE();

  /*Configure GPIO pin Output Level */
  HAL_GPIO_WritePin(GPIOB, LD3_Pin|LD2_Pin, GPIO_PIN_RESET);

  /*Configure GPIO pin Output Level */
  HAL_GPIO_WritePin(USB_PowerSwitchOn_GPIO_Port, USB_PowerSwitchOn_Pin, GPIO_PIN_RESET);

  /*Configure GPIO pin : USER_Btn_Pin */
  GPIO_InitStruct.Pin = USER_Btn_Pin;
  GPIO_InitStruct.Mode = GPIO_MODE_IT_RISING;
  GPIO_InitStruct.Pull = GPIO_NOPULL;
  HAL_GPIO_Init(USER_Btn_GPIO_Port, &GPIO_InitStruct);

  /*Configure GPIO pin : RMII_TXD1_Pin */
  GPIO_InitStruct.Pin = RMII_TXD1_Pin;
  GPIO_InitStruct.Mode = GPIO_MODE_AF_PP;
  GPIO_InitStruct.Pull = GPIO_NOPULL;
  GPIO_InitStruct.Speed = GPIO_SPEED_FREQ_VERY_HIGH;
  GPIO_InitStruct.Alternate = GPIO_AF11_ETH;
  HAL_GPIO_Init(RMII_TXD1_GPIO_Port, &GPIO_InitStruct);

  /*Configure GPIO pins : LD3_Pin LD2_Pin */
  GPIO_InitStruct.Pin = LD3_Pin|LD2_Pin;
  GPIO_InitStruct.Mode = GPIO_MODE_OUTPUT_PP;
  GPIO_InitStruct.Pull = GPIO_NOPULL;
  GPIO_InitStruct.Speed = GPIO_SPEED_FREQ_LOW;
  HAL_GPIO_Init(GPIOB, &GPIO_InitStruct);

  /*Configure GPIO pin : USB_PowerSwitchOn_Pin */
  GPIO_InitStruct.Pin = USB_PowerSwitchOn_Pin;
  GPIO_InitStruct.Mode = GPIO_MODE_OUTPUT_PP;
  GPIO_InitStruct.Pull = GPIO_NOPULL;
  GPIO_InitStruct.Speed = GPIO_SPEED_FREQ_LOW;
  HAL_GPIO_Init(USB_PowerSwitchOn_GPIO_Port, &GPIO_InitStruct);

  /*Configure GPIO pin : USB_OverCurrent_Pin */
  GPIO_InitStruct.Pin = USB_OverCurrent_Pin;
  GPIO_InitStruct.Mode = GPIO_MODE_INPUT;
  GPIO_InitStruct.Pull = GPIO_NOPULL;
  HAL_GPIO_Init(USB_OverCurrent_GPIO_Port, &GPIO_InitStruct);

  /*Configure GPIO pins : RMII_TX_EN_Pin RMII_TXD0_Pin */
  GPIO_InitStruct.Pin = RMII_TX_EN_Pin|RMII_TXD0_Pin;
  GPIO_InitStruct.Mode = GPIO_MODE_AF_PP;
  GPIO_InitStruct.Pull = GPIO_NOPULL;
  GPIO_InitStruct.Speed = GPIO_SPEED_FREQ_VERY_HIGH;
  GPIO_InitStruct.Alternate = GPIO_AF11_ETH;
  HAL_GPIO_Init(GPIOG, &GPIO_InitStruct);

}

/* USER CODE BEGIN 4 */

void HAL_ADC_ConvHalfCpltCallback(ADC_HandleTypeDef* hadc)
{
	//PrintUARTMessage(&huart3, "Half Complete Callback.");
}

void HAL_ADC_ConvCpltCallback(ADC_HandleTypeDef* hadc)
{
	if(hadc == &hadc1)
	{
		adc1Finished = 1;
	}
	else if (hadc == &hadc2)
	{
		adc2Finished = 1;
	}
	else if (hadc == &hadc3)
	{
		adc3Finished = 1;
	}
	/*
	char msg[10];

	for(int i = 0; i < 8; i++)
	{
		uint16_t readValue = buffer[i];
		sprintf(msg, "%hu\r\n", readValue);
		PrintUARTMessage(&huart3, msg);
	}
	*/

	HAL_ADC_Stop_DMA(hadc);

	CheckIfAllBuffersReadyAndSend();
	//PrintUARTMessage(&huart3, "Full Complete Callback.");
}

void CheckIfAllBuffersReadyAndSend()
{
	if(adc1Finished == 0 || adc2Finished == 0 || adc3Finished == 0)
	{
		return;
	}
	//Construct message that has magic numbers, then each sample separated by a hyphen.

	char msg[25 * 6]; // Adjusted size

	char* msgPtr = msg; // Pointer to track position in msg for sprintf

	int magicNumber = 12345;
	msgPtr += sprintf(msgPtr, "%hu-", magicNumber);

	for (int i = 0; i < 8; ++i)
	{
		msgPtr += sprintf(msgPtr, "%hu-", adcBuffer_1[i]);
	}
	for (int i = 0; i < 8; ++i)
	{
		msgPtr += sprintf(msgPtr, "%hu-", adcBuffer_2[i]);
	}
	for (int i = 0; i < 8; ++i)
	{
		msgPtr += sprintf(msgPtr, "%hu-", adcBuffer_3[i]);
	}

	PrintUARTMessage(&huart3, msg);
}

void PrintUARTMessage(UART_HandleTypeDef *huart, const char message[])
{
	HAL_UART_Transmit(huart, (uint8_t*)message, strlen(message), 10);
	char newLine[3] = "\r\n";
	HAL_UART_Transmit(huart, (uint8_t*)newLine, 2, 10);
}

void PrintUARTValue(UART_HandleTypeDef *huart, uint16_t value)
{
	char msg[6];
	sprintf(msg, "%hu-", value);
	PrintUARTMessage(huart, msg);
}

void BlinkLight(GPIO_TypeDef* GPIOx, uint16_t GPIO_Pin, int blinkCount, int totalTimeMS, GPIO_PinState endState)
{
	int timePerHalfBlink = totalTimeMS / blinkCount / 2;
	GPIO_PinState oppositeOfEndState = endState == GPIO_PIN_RESET ? GPIO_PIN_SET : GPIO_PIN_RESET;

	for(int i = 0; i < blinkCount; i++)
	{
		HAL_GPIO_WritePin(GPIOx, GPIO_Pin, oppositeOfEndState);
		HAL_Delay(timePerHalfBlink);
		HAL_GPIO_WritePin(GPIOx, GPIO_Pin, endState);
		HAL_Delay(timePerHalfBlink);
	}
}

/* USER CODE END 4 */

void Error_Handler(void)
{
  __disable_irq();
  while (1)
  {
  }
}
